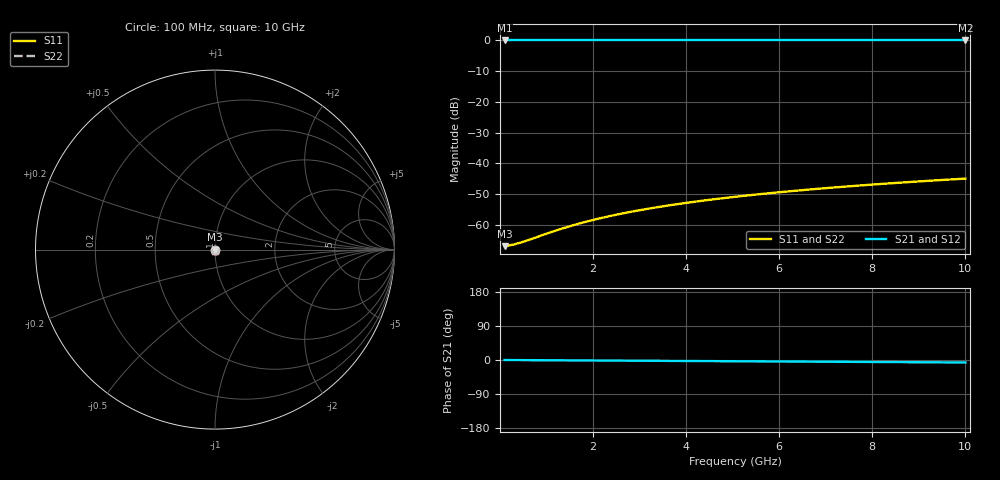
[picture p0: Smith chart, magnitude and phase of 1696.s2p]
# Hz S RI R 50.00
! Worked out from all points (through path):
!   100 points, 100 MHz to 10 GHz, reference 50 ohm
!   highest |S21| = 0.00 dB at 100 MHz (marker M1); lowest = 0.0 dB at 10 GHz (marker M2)
!   lowest |S11| = -66.9 dB at 100 MHz (marker M3), VSWR 1.00, Z = 50 - j0.00561 ohm
!   |S11| at or under -10 dB: start of sweep to end of sweep
!   |S22| runs from -66.9 to -44.9 dB; largest |S21 - S12| = 0
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1e8  0.000448 -5.6e-05  0.9995 -0.00113  0.9995 -0.00113  0.000448 -5.6e-05
2e8  0.00045 -0.000112  0.9995 -0.00226  0.9995 -0.00226  0.00045 -0.000112
3e8  0.000452 -0.000168  0.9995 -0.0034  0.9995 -0.0034  0.000452 -0.000168
4e8  0.000453 -0.000224  0.9995 -0.00453  0.9995 -0.00453  0.000453 -0.000224
6e8  0.000453 -0.000336  0.9995 -0.00679  0.9995 -0.00679  0.000453 -0.000336
1e9  0.000451 -0.000561  0.9995 -0.0113  0.9995 -0.0113  0.000451 -0.000561
1.3e9  0.000448 -0.000729  0.9994 -0.0147  0.9994 -0.0147  0.000448 -0.000729
1.5e9  0.000445 -0.000842  0.9994 -0.017  0.9994 -0.017  0.000445 -0.000842
1.8e9  0.00044 -0.00101  0.9993 -0.0204  0.9993 -0.0204  0.00044 -0.00101
2.1e9  0.000433 -0.00118  0.9992 -0.0238  0.9992 -0.0238  0.000433 -0.00118
2.5e9  0.000421 -0.0014  0.9991 -0.0283  0.9991 -0.0283  0.000421 -0.0014
2.9e9  0.000408 -0.00163  0.999 -0.0328  0.999 -0.0328  0.000408 -0.00163
3.4e9  0.000388 -0.00191  0.9988 -0.0385  0.9988 -0.0385  0.000388 -0.00191
3.8e9  0.00037 -0.00214  0.9986 -0.043  0.9986 -0.043  0.00037 -0.00214
4.2e9  0.000349 -0.00237  0.9984 -0.0476  0.9984 -0.0476  0.000349 -0.00237
4.6e9  0.000327 -0.00259  0.9981 -0.0521  0.9981 -0.0521  0.000327 -0.00259
5.1e9  0.000296 -0.00288  0.9978 -0.0578  0.9978 -0.0578  0.000296 -0.00288
5.9e9  0.000239 -0.00333  0.9972 -0.0669  0.9972 -0.0669  0.000239 -0.00333
6.7e9  0.000174 -0.00379  0.9966 -0.0759  0.9966 -0.0759  0.000174 -0.00379
7.5e9  0.0001 -0.00425  0.9958 -0.085  0.9958 -0.085  0.0001 -0.00425
8.4e9  7.49e-06 -0.00476  0.9949 -0.0953  0.9949 -0.0953  7.49e-06 -0.00476
1e10  -0.000183 -0.00567  0.993 -0.1134  0.993 -0.1134  -0.000183 -0.00567
